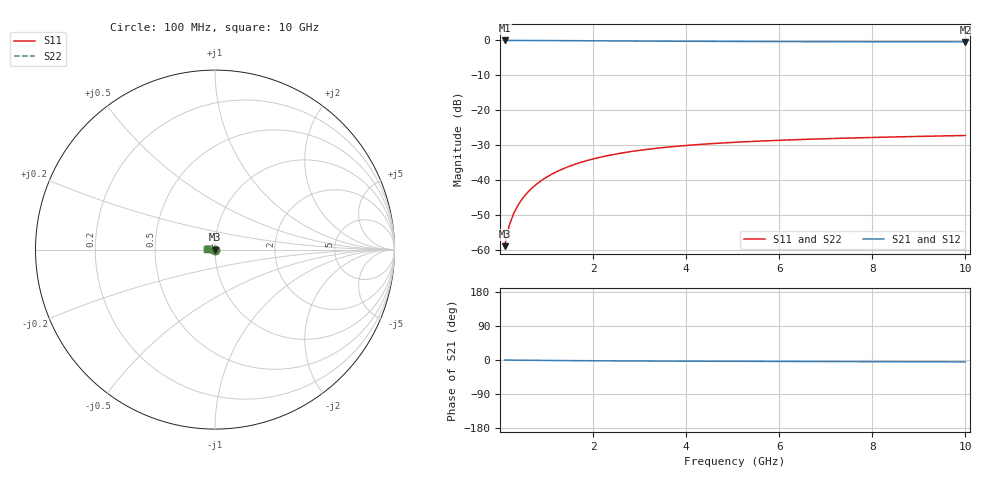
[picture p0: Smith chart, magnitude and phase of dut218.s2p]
! Touchstone file exported from HFSS 2024.1.0
!  File:  C:/UserFiles/LocalFiles/RDL_TSV_Batchsim/temp_TSV1_218_1779387385.aedt
!  Generated:  02:22:16 AM May 22, 2026
!  Design:  TSV1
!  Project:  temp_TSV1_218_1779387385
!  Setup:  Setup1
!  Solution:  Sweep
! Variables:
!  dtsv = 9.71um
!  hbump = 3um
!  htsv = 78.02um
!  lrdl = 252.1521522um
!  p = 40
!  p1 = 49.5um
!  t = 500um
!  trdl = 3um
!  wrdl = 24.89489489um
# GHz S MA R 50.000000
! Terminal data exported
! Port[1] = TSV22_T1
! Port[2] = TSV22_T2
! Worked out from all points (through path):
!   100 points, 100 MHz to 10 GHz, reference 50 ohm
!   highest |S21| = 0.00 dB at 100 MHz (marker M1); lowest = -0.4 dB at 10 GHz (marker M2)
!   lowest |S11| = -58.8 dB at 100 MHz (marker M3), VSWR 1.00, Z = 50 - j0.114 ohm
!   |S11| at or under -10 dB: start of sweep to end of sweep
!   |S22| runs from -58.8 to -27.2 dB; largest |S21 - S12| = 9.2e-15
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0.1  0.00115 -84.2  0.9998 -0.1  0.9998 -0.1  0.00115 -84.2
! Gamma 0 0 0 0
! Port Impedance 50 0 50 0
0.2  0.002287 -89.6  0.9997 -0.2  0.9997 -0.2  0.002287 -89.6
0.3  0.003427 -92.6  0.9995 -0.4  0.9995 -0.4  0.003427 -92.6
0.4  0.004563 -95.0  0.9992 -0.5  0.9992 -0.5  0.004563 -95.0
0.5  0.005692 -97.2  0.9989 -0.6  0.9989 -0.6  0.005692 -97.2
0.6  0.006808 -99.3  0.9985 -0.7  0.9985 -0.7  0.006808 -99.3
0.7  0.007911 -101.2  0.998 -0.8  0.998 -0.8  0.007911 -101.2
0.8  0.008997 -103.2  0.9975 -0.9  0.9975 -0.9  0.008997 -103.2
0.9  0.01006 -105.0  0.997 -1.0  0.997 -1.0  0.01006 -105.0
1.1  0.01214 -108.6  0.9957 -1.2  0.9957 -1.2  0.01214 -108.6
1.4  0.01507 -113.7  0.9935 -1.5  0.9935 -1.5  0.01507 -113.7
1.6  0.01691 -117.0  0.9919 -1.7  0.9919 -1.7  0.01691 -117.0
1.8  0.01864 -120.1  0.9902 -1.9  0.9902 -1.9  0.01863 -120.1
2.1  0.02103 -124.5  0.9877 -2.1  0.9877 -2.1  0.02103 -124.5
2.5  0.02387 -130.0  0.9843 -2.4  0.9843 -2.4  0.02387 -130.0
2.9  0.02634 -135.0  0.981 -2.6  0.981 -2.6  0.02634 -135.0
3.4  0.02897 -140.7  0.9772 -2.8  0.9772 -2.8  0.02897 -140.7
4.2  0.03233 -148.6  0.9719 -3.2  0.9719 -3.2  0.03233 -148.6
5.1  0.0352 -156.2  0.9672 -3.5  0.9672 -3.5  0.0352 -156.2
6.7  0.03888 -167.1  0.9611 -4.0  0.9611 -4.0  0.03888 -167.1
8.4  0.0417 -176.3  0.9569 -4.5  0.9569 -4.5  0.0417 -176.3
10  0.04387 176.4  0.9541 -5.0  0.9541 -5.0  0.04387 176.4
